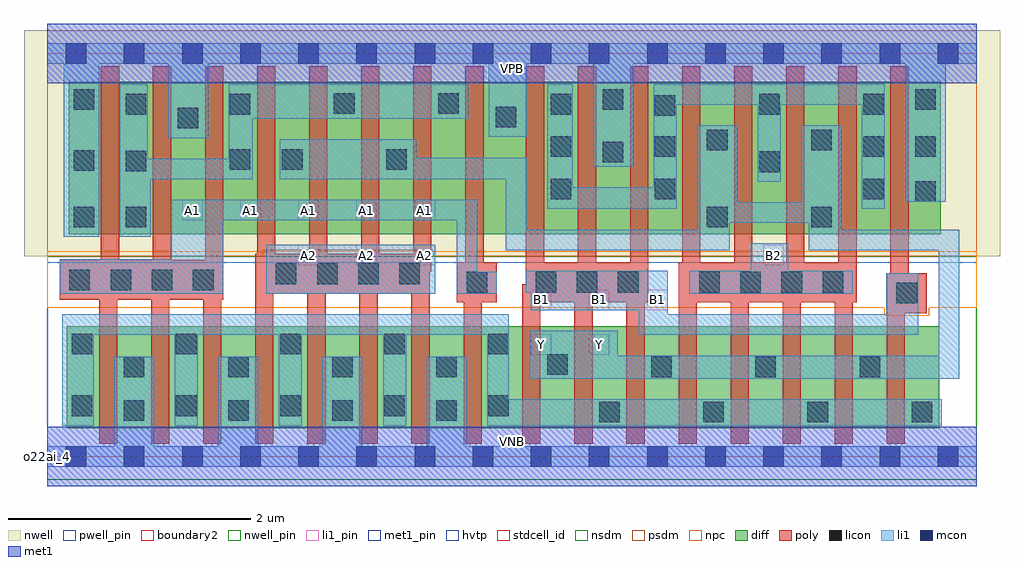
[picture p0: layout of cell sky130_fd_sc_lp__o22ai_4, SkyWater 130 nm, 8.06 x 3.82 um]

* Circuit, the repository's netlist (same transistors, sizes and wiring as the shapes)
* Copyright 2020 The SkyWater PDK Authors
*
* Licensed under the Apache License, Version 2.0 (the "License");
* you may not use this file except in compliance with the License.
* You may obtain a copy of the License at
*
*     https://www.apache.org/licenses/LICENSE-2.0
*
* Unless required by applicable law or agreed to in writing, software
* distributed under the License is distributed on an "AS IS" BASIS,
* WITHOUT WARRANTIES OR CONDITIONS OF ANY KIND, either express or implied.
* See the License for the specific language governing permissions and
* limitations under the License.
*
* SPDX-License-Identifier: Apache-2.0

.SUBCKT sky130_fd_sc_lp__o22ai_4 A1 A2 B1 B2 VGND VNB VPB VPWR Y
*.PININFO A1:I A2:I B1:I B2:I VGND:I VNB:I VPB:I VPWR:I Y:O
MMPA0 VPWR A1 sndA1 VPB sky130_fd_pr__pfet_01v8_hvt m=4 w=1.26U l=0.15U mult=1
+ sa=0.265 sb=0.265 sd=0.28 area=0.063 perim=1.14
MMPA1 sndA1 A2 Y VPB sky130_fd_pr__pfet_01v8_hvt m=4 w=1.26U l=0.15U mult=1 sa=0.265
+ sb=0.265 sd=0.28 area=0.063 perim=1.14
MMPB0 VPWR B1 sndB1 VPB sky130_fd_pr__pfet_01v8_hvt m=4 w=1.26U l=0.15U mult=1
+ sa=0.265 sb=0.265 sd=0.28 area=0.063 perim=1.14
MMPB1 sndB1 B2 Y VPB sky130_fd_pr__pfet_01v8_hvt m=4 w=1.26U l=0.15U mult=1 sa=0.265
+ sb=0.265 sd=0.28 area=0.063 perim=1.14
MMNA0 pndA A1 VGND VNB sky130_fd_pr__nfet_01v8 m=4 w=0.84U l=0.15U mult=1 sa=0.265
+ sb=0.265 sd=0.28 area=0.063 perim=1.14
MMNA1 pndA A2 VGND VNB sky130_fd_pr__nfet_01v8 m=4 w=0.84U l=0.15U mult=1 sa=0.265
+ sb=0.265 sd=0.28 area=0.063 perim=1.14
MMNB0 Y B1 pndA VNB sky130_fd_pr__nfet_01v8 m=4 w=0.84U l=0.15U mult=1 sa=0.265
+ sb=0.265 sd=0.28 area=0.063 perim=1.14
MMNB1 Y B2 pndA VNB sky130_fd_pr__nfet_01v8 m=4 w=0.84U l=0.15U mult=1 sa=0.265
+ sb=0.265 sd=0.28 area=0.063 perim=1.14
.ENDS sky130_fd_sc_lp__o22ai_4

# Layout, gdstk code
import gdstk
lib = gdstk.Library(unit=1e-6, precision=1e-09)
def R(c, l, rs):  # rectangles x0, y0, x1, y1
    for r in rs: c.add(gdstk.rectangle(r[:2], r[2:], *l))
def A(c, l, x, y, w, h, nx, ny, dx, dy):  # array of equal rectangles
    R(c, l, [(x+i*dx, y+j*dy, x+i*dx+w, y+j*dy+h) for i in range(nx) for j in range(ny)])
def P(c, l, *ps):  # polygons
    for p in ps: c.add(gdstk.Polygon(p, *l))
nwell_pin = (64, 16)
nwell = (64, 20)
diff = (65, 20)
poly = (66, 20)
licon = (66, 44)
li1_pin = (67, 16)
li1 = (67, 20)
mcon = (67, 44)
met1_pin = (68, 16)
met1 = (68, 20)
hvtp = (78, 44)
stdcell_id = (81, 4)
nsdm = (93, 44)
psdm = (94, 20)
npc = (95, 20)
pwell_pin = (122, 16)
boundary2 = (236, 0)

sky130_fd_sc_lp__o22ai_4 = lib.new_cell('sky130_fd_sc_lp__o22ai_4')
R(sky130_fd_sc_lp__o22ai_4, nwell_pin, [(0,3.085,7.68,3.33)])
R(sky130_fd_sc_lp__o22ai_4, nwell, [(-0.19,1.655,7.87,3.52)])
R(sky130_fd_sc_lp__o22ai_4, diff, [(0.165,0.235,7.37,1.075), (0.18,1.835,7.38,3.095)])
P(sky130_fd_sc_lp__o22ai_4, poly, [(1.455,3.225),(1.305,3.225),(1.305,1.625),(1.025,1.625),(1.025,3.225),(0.875,3.225),(0.875,1.625),(0.595,1.625),(0.595,3.225),(0.445,3.225),(0.445,1.625),(0.105,1.625),(0.105,1.295),(0.43,1.295),(0.43,0.105),(0.58,0.105),(0.58,1.295),(0.86,1.295),(0.86,0.105),(1.01,0.105),(1.01,1.295),(1.29,1.295),(1.29,0.105),(1.44,0.105),(1.44,1.295),(1.455,1.295)],
  [(3.175,3.225),(3.025,3.225),(3.025,1.675),(2.745,1.675),(2.745,3.225),(2.595,3.225),(2.595,1.675),(2.315,1.675),(2.315,3.225),(2.165,3.225),(2.165,1.675),(1.885,1.675),(1.885,3.225),(1.735,3.225),(1.735,1.675),(1.72,1.675),(1.72,0.105),(1.87,0.105),(1.87,1.345),(2.15,1.345),(2.15,0.105),(2.3,0.105),(2.3,1.345),(2.58,1.345),(2.58,0.105),(2.73,0.105),(2.73,1.345),(3.01,1.345),(3.01,0.105),(3.16,0.105),(3.16,1.525),(3.175,1.525)],
  [(3.715,1.605),(3.605,1.605),(3.605,3.225),(3.455,3.225),(3.455,1.605),(3.385,1.605),(3.385,1.275),(3.44,1.275),(3.44,0.105),(3.59,0.105),(3.59,1.275),(3.715,1.275)],
  [(4.965,3.225),(4.815,3.225),(4.815,1.605),(4.535,1.605),(4.535,3.225),(4.385,3.225),(4.385,1.605),(4.105,1.605),(4.105,3.225),(3.955,3.225),(3.955,1.425),(3.925,1.425),(3.925,0.105),(4.075,0.105),(4.075,1.275),(4.355,1.275),(4.355,0.105),(4.505,0.105),(4.505,1.275),(4.785,1.275),(4.785,0.105),(4.935,0.105),(4.935,1.275),(4.965,1.275)],
  [(6.685,3.225),(6.535,3.225),(6.535,1.605),(6.255,1.605),(6.255,3.225),(6.105,3.225),(6.105,1.605),(5.825,1.605),(5.825,3.225),(5.675,3.225),(5.675,1.605),(5.395,1.605),(5.395,3.225),(5.245,3.225),(5.245,1.605),(5.215,1.605),(5.215,0.105),(5.365,0.105),(5.365,1.275),(5.645,1.275),(5.645,0.105),(5.795,0.105),(5.795,1.275),(6.075,1.275),(6.075,0.105),(6.225,0.105),(6.225,1.275),(6.505,1.275),(6.505,0.105),(6.655,0.105),(6.655,1.275),(6.685,1.275)],
  [(7.265,1.515),(7.115,1.515),(7.115,3.225),(6.965,3.225),(6.965,1.515),(6.935,1.515),(6.935,0.105),(7.085,0.105),(7.085,1.185),(7.265,1.185)])
A(sky130_fd_sc_lp__o22ai_4, licon, 4.56, 0.285, 0.17, 0.17, 4, 1, 0.86, 0)
A(sky130_fd_sc_lp__o22ai_4, licon, 0.635, 0.295, 0.17, 0.17, 4, 2, 0.86, 0.36)
A(sky130_fd_sc_lp__o22ai_4, licon, 0.205, 0.335, 0.17, 0.17, 5, 2, 0.86, 0.51)
A(sky130_fd_sc_lp__o22ai_4, licon, 4.99, 0.655, 0.17, 0.17, 3, 1, 0.86, 0)
A(sky130_fd_sc_lp__o22ai_4, licon, 4.035, 1.355, 0.17, 0.17, 3, 1, 0.34, 0)
A(sky130_fd_sc_lp__o22ai_4, licon, 5.385, 1.355, 0.17, 0.17, 4, 1, 0.34, 0)
A(sky130_fd_sc_lp__o22ai_4, licon, 0.185, 1.375, 0.17, 0.17, 4, 1, 0.34, 0)
A(sky130_fd_sc_lp__o22ai_4, licon, 1.89, 1.425, 0.17, 0.17, 4, 1, 0.34, 0)
A(sky130_fd_sc_lp__o22ai_4, licon, 4.16, 2.125, 0.17, 0.17, 1, 3, 0, 0.35)
A(sky130_fd_sc_lp__o22ai_4, licon, 6.74, 2.125, 0.17, 0.17, 1, 3, 0, 0.35)
R(sky130_fd_sc_lp__o22ai_4, licon, [(4.13,0.675,4.3,0.845), (7.015,1.265,7.185,1.435), (3.465,1.355,3.635,1.525), (0.22,1.895,0.39,2.065), (0.65,1.895,0.82,2.065), (5.45,1.895,5.62,2.065), (6.31,1.895,6.48,2.065), (7.17,2.105,7.34,2.275), (5.02,2.125,5.19,2.295), (5.88,2.35,6.05,2.52), (0.65,2.355,0.82,2.525), (0.22,2.36,0.39,2.53), (1.51,2.37,1.68,2.54), (1.94,2.37,2.11,2.54), (2.8,2.37,2.97,2.54), (4.59,2.43,4.76,2.6), (5.02,2.475,5.19,2.645), (7.17,2.475,7.34,2.645), (5.45,2.53,5.62,2.7), (6.31,2.53,6.48,2.7), (1.08,2.71,1.25,2.88), (3.705,2.72,3.875,2.89), (5.02,2.815,5.19,2.985), (0.65,2.825,0.82,2.995), (1.51,2.825,1.68,2.995), (5.88,2.825,6.05,2.995), (2.37,2.83,2.54,3), (3.23,2.83,3.4,3), (0.22,2.865,0.39,3.035), (4.59,2.865,4.76,3.035), (7.17,2.865,7.34,3.035)])
A(sky130_fd_sc_lp__o22ai_4, li1_pin, 3.995, 1.21, 0.17, 0.17, 3, 1, 0.48, 0)
A(sky130_fd_sc_lp__o22ai_4, li1_pin, 2.075, 1.58, 0.17, 0.17, 3, 1, 0.48, 0)
A(sky130_fd_sc_lp__o22ai_4, li1_pin, 1.115, 1.95, 0.17, 0.17, 5, 1, 0.48, 0)
R(sky130_fd_sc_lp__o22ai_4, li1_pin, [(3.995,0.84,4.165,1.01), (4.475,0.84,4.645,1.01), (5.915,1.58,6.085,1.75)])
R(sky130_fd_sc_lp__o22ai_4, li1, [(1.81,1.345,3.205,1.75)])
P(sky130_fd_sc_lp__o22ai_4, li1, [(3.715,1.525),(3.555,1.525),(3.555,2.12),(1.025,2.12),(1.025,1.63),(0.105,1.63),(0.105,1.345),(1.455,1.345),(1.455,1.95),(3.385,1.95),(3.385,1.345),(3.715,1.345)],
  [(7.39,0.475),(3.815,0.475),(3.815,1.175),(0.125,1.175),(0.125,0.255),(0.385,0.255),(0.385,1.005),(1.055,1.005),(1.055,0.255),(1.245,0.255),(1.245,1.005),(1.915,1.005),(1.915,0.255),(2.105,0.255),(2.105,1.005),(2.775,1.005),(2.775,0.255),(2.965,0.255),(2.965,1.005),(3.635,1.005),(3.635,0.255),(7.39,0.255)],
  [(7.195,1.515),(6.93,1.515),(6.93,1.175),(5.125,1.175),(5.125,1.535),(3.955,1.535),(3.955,1.355),(3.995,1.355),(3.995,1.21),(4.885,1.21),(4.885,1.005),(7.195,1.005)],
  [(7.68,0.085),(3.465,0.085),(3.465,0.825),(3.135,0.825),(3.135,0.085),(2.605,0.085),(2.605,0.825),(2.275,0.825),(2.275,0.085),(1.745,0.085),(1.745,0.825),(1.415,0.825),(1.415,0.085),(0.885,0.085),(0.885,0.825),(0.555,0.825),(0.555,0.085),(0,0.085),(0,-0.085),(7.68,-0.085)],
  [(7.535,1.875),(6.56,1.875),(6.56,2.735),(6.23,2.735),(6.23,2.1),(5.7,2.1),(5.7,2.735),(5.37,2.735),(5.37,1.875),(3.96,1.875),(3.96,2.47),(3.05,2.47),(3.05,2.62),(1.92,2.62),(1.92,2.29),(3.79,2.29),(3.79,1.705),(5.64,1.705),(5.64,1.93),(6.29,1.93),(6.29,1.705),(7.365,1.705),(7.365,0.835),(4.715,0.835),(4.715,1.04),(3.985,1.04),(3.985,0.645),(7.535,0.645)],
  [(7.68,3.415),(0,3.415),(0,3.245),(0.14,3.245),(0.14,1.815),(0.43,1.815),(0.43,3.245),(1,3.245),(1,2.63),(1.33,2.63),(1.33,3.245),(3.65,3.245),(3.65,2.64),(3.96,2.64),(3.96,3.245),(4.51,3.245),(4.51,2.395),(4.84,2.395),(4.84,3.245),(7.09,3.245),(7.09,2.105),(7.42,2.105),(7.42,3.245),(7.68,3.245)],
  [(6.92,3.075),(5.01,3.075),(5.01,2.225),(4.34,2.225),(4.34,3.075),(4.13,3.075),(4.13,2.045),(5.2,2.045),(5.2,2.905),(5.87,2.905),(5.87,2.27),(6.06,2.27),(6.06,2.905),(6.73,2.905),(6.73,2.045),(6.92,2.045)],
  [(6.655,1.535),(6.12,1.535),(6.12,1.76),(5.81,1.76),(5.81,1.535),(5.305,1.535),(5.305,1.345),(6.655,1.345)],
  [(3.48,3.075),(1.5,3.075),(1.5,2.46),(0.83,2.46),(0.83,3.075),(0.6,3.075),(0.6,1.815),(0.855,1.815),(0.855,2.29),(1.7,2.29),(1.7,2.79),(3.48,2.79)])
A(sky130_fd_sc_lp__o22ai_4, mcon, 0.155, -0.085, 0.17, 0.17, 16, 2, 0.48, 3.33)
R(sky130_fd_sc_lp__o22ai_4, met1_pin, [(0,0,7.68,0.245), (0,3.085,7.68,3.33)])
R(sky130_fd_sc_lp__o22ai_4, met1, [(0,-0.245,7.68,0.245), (0,3.085,7.68,3.575)])
R(sky130_fd_sc_lp__o22ai_4, hvtp, [(0,1.6,7.68,3.33)])
R(sky130_fd_sc_lp__o22ai_4, stdcell_id, [(0,0,7.68,3.33)])
R(sky130_fd_sc_lp__o22ai_4, nsdm, [(0,-0.19,7.68,1.655)])
P(sky130_fd_sc_lp__o22ai_4, psdm, [(7.68,3.52),(0,3.52),(0,1.655),(1.78,1.655),(1.78,1.705),(3.19,1.705),(3.19,1.655),(7.68,1.655)])
P(sky130_fd_sc_lp__o22ai_4, npc, [(7.68,1.695),(0,1.695),(0,1.23),(6.915,1.23),(6.915,1.165),(7.285,1.165),(7.285,1.23),(7.68,1.23)])
R(sky130_fd_sc_lp__o22ai_4, pwell_pin, [(0,0,7.68,0.245)])
R(sky130_fd_sc_lp__o22ai_4, boundary2, [(0,0,7.68,3.33)])
sky130_fd_sc_lp__o22ai_4.add(gdstk.Label('VNB', (3.84,0.123), layer=64, texttype=59))
sky130_fd_sc_lp__o22ai_4.add(gdstk.Label('VPB', (3.84,3.208), layer=64, texttype=5))
sky130_fd_sc_lp__o22ai_4.add(gdstk.Label('o22ai_4', (0,0), layer=83, texttype=44))
sky130_fd_sc_lp__o22ai_4.add(gdstk.Label('VPWR', (3.84,3.208), layer=68, texttype=5))
sky130_fd_sc_lp__o22ai_4.add(gdstk.Label('VGND', (3.84,0.123), layer=68, texttype=5))
sky130_fd_sc_lp__o22ai_4.add(gdstk.Label('A1', (1.2,2.035), layer=67, texttype=5))
sky130_fd_sc_lp__o22ai_4.add(gdstk.Label('A1', (1.68,2.035), layer=67, texttype=5))
sky130_fd_sc_lp__o22ai_4.add(gdstk.Label('A1', (2.16,2.035), layer=67, texttype=5))
sky130_fd_sc_lp__o22ai_4.add(gdstk.Label('A1', (2.64,2.035), layer=67, texttype=5))
sky130_fd_sc_lp__o22ai_4.add(gdstk.Label('A1', (3.12,2.035), layer=67, texttype=5))
sky130_fd_sc_lp__o22ai_4.add(gdstk.Label('A2', (2.16,1.665), layer=67, texttype=5))
sky130_fd_sc_lp__o22ai_4.add(gdstk.Label('A2', (2.64,1.665), layer=67, texttype=5))
sky130_fd_sc_lp__o22ai_4.add(gdstk.Label('A2', (3.12,1.665), layer=67, texttype=5))
sky130_fd_sc_lp__o22ai_4.add(gdstk.Label('Y', (4.08,0.925), layer=67, texttype=5))
sky130_fd_sc_lp__o22ai_4.add(gdstk.Label('Y', (4.56,0.925), layer=67, texttype=5))
sky130_fd_sc_lp__o22ai_4.add(gdstk.Label('B2', (6,1.665), layer=67, texttype=5))
sky130_fd_sc_lp__o22ai_4.add(gdstk.Label('B1', (4.08,1.295), layer=67, texttype=5))
sky130_fd_sc_lp__o22ai_4.add(gdstk.Label('B1', (4.56,1.295), layer=67, texttype=5))
sky130_fd_sc_lp__o22ai_4.add(gdstk.Label('B1', (5.04,1.295), layer=67, texttype=5))

lib.write_gds('sky130_fd_sc_lp__o22ai_4.gds')
